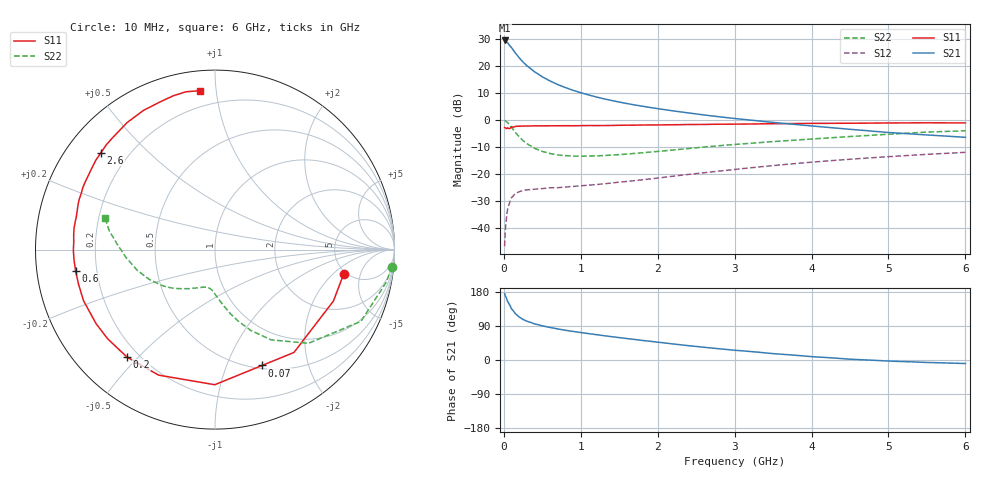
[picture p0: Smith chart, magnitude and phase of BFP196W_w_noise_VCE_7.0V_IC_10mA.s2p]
! Infineon Technologies  Discrete & RF Semiconductors
! BFP196W
! VCE =  7.0 V,  IC =  10 mA
! Common Emitter S-Parameters:  Jan 2017
# GHz  S  MA  R  50
!  f  S11  S21  S12  S22
! GHz  MAG  ANG  MAG  ANG  MAG  ANG  MAG  ANG
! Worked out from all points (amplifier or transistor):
!   77 points, 10 MHz to 6 GHz, reference 50 ohm
!   highest |S21| = 29.6 dB at 10 MHz (marker M1)
!   |S21| within 3 dB of that: start of sweep to 108.4 MHz
!   unconditionally stable (mu >= 1): 1.255 GHz to 3.123 GHz
!   at 130 MHz: K = 0.15, MSG = 26.8 dB, |S12| = -27.8 dB
!   at 2.2 GHz: K = 1.09, MAG = 10.2 dB, |S12| = -20.8 dB
!   at 6 GHz: K = 0.87, MSG = 2.8 dB, |S12| = -11.9 dB
!   lowest NFmin = 0.91 dB at 450 MHz
!   S11 on the Smith chart (normalised r, x): 10 MHz: 4.78, -2.75; 70 MHz: 0.54, -1.35; 200 MHz: 0.16, -0.46; 600 MHz: 0.12, -0.07; 2.6 GHz: 0.10, +0.36; 6 GHz: 0.11, +0.90
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0.01  0.7301 -10.6  30.1 175.4  0.0046 85.7  0.9906 -5.6
0.02  0.7194 -23.5  29.63 169.2  0.0093 82.1  0.9714 -10.8
0.05  0.7225 -52.5  27.27 154.2  0.0228 67.0  0.906 -26.2
0.07  0.6968 -67.8  24.89 147.4  0.0281 58.2  0.8285 -32.8
0.1  0.7529 -90.1  22.13 134.9  0.0367 50.1  0.7379 -45.0
0.15  0.7667 -114.2  17.64 122.2  0.0434 40.1  0.5925 -58.1
0.2  0.7739 -129.4  14.32 113.4  0.047 33.8  0.4919 -66.2
0.25  0.7776 -140.3  11.97 107.0  0.0499 30.2  0.4176 -72.1
0.3  0.7805 -148.0  10.21 102.3  0.0509 27.4  0.3662 -76.6
0.4  0.7859 -158.7  7.877 95.2  0.0524 25.7  0.3002 -83.0
0.5  0.7846 -165.9  6.364 90.1  0.0538 25.5  0.2633 -87.6
0.6  0.7856 -171.3  5.344 85.8  0.0557 26.2  0.2408 -91.3
0.7  0.7875 -175.6  4.587 82.1  0.0559 27.2  0.2262 -94.3
0.8  0.7892 -179.5  4.027 78.5  0.0576 28.9  0.2199 -96.8
1.1  0.7944 171.5  2.944 69.7  0.0623 33.3  0.2157 -103.8
1.5  0.8031 161.8  2.166 59.1  0.0709 39.6  0.2295 -113.0
2.1  0.8187 148.9  1.56 44.8  0.0878 46.3  0.271 -126.6
2.6  0.8336 139.6  1.25 33.6  0.1056 48.9  0.3176 -137.4
3.1  0.8465 131.1  1.039 24.2  0.1262 49.0  0.3631 -147.7
4.1  0.8723 115.8  0.759 7.7  0.1706 45.1  0.4567 -167.1
5.1  0.8887 104.2  0.578 -3.5  0.2146 38.2  0.5585 174.9
6  0.8894 95.4  0.481 -9.3  0.2532 30.8  0.6365 164.0
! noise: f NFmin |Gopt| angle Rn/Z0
0.45  0.91  0.36  146  0.06
0.9  1.19  0.53  168  0.05
1.9  2.27  0.71  -158  0.1
2.4  2.77  0.76  -149  0.22
